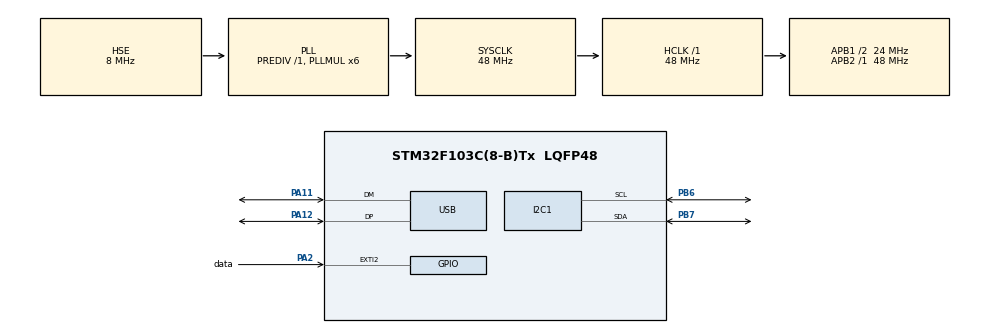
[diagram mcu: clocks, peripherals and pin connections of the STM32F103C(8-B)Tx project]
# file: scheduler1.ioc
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FREERTOS.Tasks01=mpu,24,256,TaskMpu,Default,NULL,Dynamic,NULL,NULL;dht,8,256,TaskDht,Default,NULL,Dynamic,NULL,NULL
FREERTOS.configUSE_NEWLIB_REENTRANT=1
Mcu.Family=STM32F1
Mcu.Name=STM32F103C(8-B)Tx
Mcu.Package=LQFP48
NVIC.PriorityGroup=NVIC_PRIORITYGROUP_4
NVIC.TIM1_UP_IRQn=true\:15\:0\:false\:false\:true\:false\:false\:true\:true
NVIC.TimeBase=TIM1_UP_IRQn
NVIC.TimeBaseIP=TIM1
NVIC.USB_LP_CAN1_RX0_IRQn=true\:5\:0\:false\:false\:true\:true\:false\:true\:true
PA11.Mode=Device
PA11.Signal=USB_DM
PA12.Mode=Device
PA12.Signal=USB_DP
PA13.Mode=Serial_Wire
PA13.Signal=SYS_JTMS-SWDIO
PA14.Mode=Serial_Wire
PA14.Signal=SYS_JTCK-SWCLK
PA2.GPIO_Label=data
PA2.GPIO_PuPd=GPIO_PULLUP
PA2.Signal=GPXTI2
PB6.Mode=I2C
PB6.Signal=I2C1_SCL
PB7.Mode=I2C
PB7.Signal=I2C1_SDA
PD0-OSC_IN.Mode=HSE-External-Oscillator
PD0-OSC_IN.Signal=RCC_OSC_IN
PD1-OSC_OUT.Mode=HSE-External-Oscillator
PD1-OSC_OUT.Signal=RCC_OSC_OUT
ProjectManager.HeapSize=0x200
ProjectManager.StackSize=0x400
ProjectManager.TargetToolchain=STM32CubeIDE
RCC.AHBFreq_Value=48000000
RCC.APB1CLKDivider=RCC_HCLK_DIV2
RCC.APB1Freq_Value=24000000
RCC.APB1TimFreq_Value=48000000
RCC.APB2Freq_Value=48000000
RCC.APB2TimFreq_Value=48000000
RCC.HCLKFreq_Value=48000000
RCC.PLLMUL=RCC_PLL_MUL6
RCC.SYSCLKFreq_VALUE=48000000
RCC.SYSCLKSource=RCC_SYSCLKSOURCE_PLLCLK
RCC.USBFreq_Value=48000000
USB_DEVICE.CLASS_NAME_FS=CDC
USB_DEVICE.VirtualMode=Cdc
USB_DEVICE.VirtualModeFS=Cdc_FS
VP_FREERTOS_VS_CMSIS_V2.Mode=CMSIS_V2
VP_SYS_VS_tim1.Mode=TIM1
VP_USB_DEVICE_VS_USB_DEVICE_CDC_FS.Mode=CDC_FS
board=custom

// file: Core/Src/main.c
/* USER CODE BEGIN Header */
/**
  ******************************************************************************
  * @file           : main.c
  * @brief          : Main program body
  ******************************************************************************
  * @attention
  *
  * Copyright (c) 2025 STMicroelectronics.
  * All rights reserved.
  *
  * This software is licensed under terms that can be found in the LICENSE file
  * in the root directory of this software component.
  * If no LICENSE file comes with this software, it is provided AS-IS.
  *
  ******************************************************************************
  */
/* USER CODE END Header */
#include "main.h"
#include "cmsis_os.h"
#include "usb_device.h"

/* USER CODE BEGIN Includes */
#include <math.h>

#include <SON_CDC_Logger.h>

#include <SON_I2C_MPU6050.h>
#include <dht22.h>

#include "core_cm3.h"
/* USER CODE END Includes */

I2C_HandleTypeDef hi2c1;

/* Definitions for mpu */
osThreadId_t mpuHandle;
const osThreadAttr_t mpu_attributes = {
  .name = "mpu",
  .stack_size = 256 * 4,
  .priority = (osPriority_t) osPriorityNormal,
};
/* Definitions for dht */
osThreadId_t dhtHandle;
const osThreadAttr_t dht_attributes = {
  .name = "dht",
  .stack_size = 256 * 4,
  .priority = (osPriority_t) osPriorityLow,
};
/* USER CODE BEGIN PV */

/*
 * Bội số cho chu kì của task 1
 *
 * Chu kì task 1 = period_task_1 * 5000ms
 *
 * Giá trị từ 1 -> 5
 * */
 uint8_t period_task_1 = 1;

 /*
  * Bội số cho chu kì của task 2
  *
  * Chu kì task 2 = period_task_2 * 1000ms
  *
  * Giá trị từ 1 -> 5
  * */
uint8_t period_task_2 = 1;

/* USER CODE END PV */

void SystemClock_Config(void);
static void MX_GPIO_Init(void);
static void MX_I2C1_Init(void);
void TaskMpu(void *argument);
void TaskDht(void *argument);

/* USER CODE BEGIN 0 */

// Function to get current cycle count
static inline uint32_t DWT_GetCycleCount(void) {
    return DWT->CYCCNT;
}

// Function to enable DWT counter
void DWT_Init(void) {
    CoreDebug->DEMCR |= CoreDebug_DEMCR_TRCENA_Msk;  // Enable trace
    DWT->CTRL |= DWT_CTRL_CYCCNTENA_Msk;            // Enable cycle counter
}

/* USER CODE END 0 */

int main(void)
{

  /* MCU Configuration--------------------------------------------------------*/

  /* Reset of all peripherals, Initializes the Flash interface and the Systick. */
  HAL_Init();

  /* Configure the system clock */
  SystemClock_Config();

  /* Initialize all configured peripherals */
  MX_GPIO_Init();
  MX_I2C1_Init();
  /* USER CODE BEGIN 2 */

  MX_USB_DEVICE_Init();

//  MPU6050_Init();
  dht22_init();
//  DWT_Init();

 MPU6050_Init();

  /* USER CODE END 2 */

  /* Init scheduler */
  osKernelInitialize();

  /* Create the thread(s) */
  /* creation of mpu */
  mpuHandle = osThreadNew(TaskMpu, NULL, &mpu_attributes);

  /* creation of dht */
  dhtHandle = osThreadNew(TaskDht, NULL, &dht_attributes);

  /* Start scheduler */
  osKernelStart();

  /* We should never get here as control is now taken by the scheduler */

  /* Infinite loop */
  while (1)
  {

  }
}

void SystemClock_Config(void)
{
  RCC_OscInitTypeDef RCC_OscInitStruct = {0};
  RCC_ClkInitTypeDef RCC_ClkInitStruct = {0};
  RCC_PeriphCLKInitTypeDef PeriphClkInit = {0};

  /** Initializes the RCC Oscillators according to the specified parameters
  * in the RCC_OscInitTypeDef structure.
  */
  RCC_OscInitStruct.OscillatorType = RCC_OSCILLATORTYPE_HSE;
  RCC_OscInitStruct.HSEState = RCC_HSE_ON;
  RCC_OscInitStruct.HSEPredivValue = RCC_HSE_PREDIV_DIV1;
  RCC_OscInitStruct.HSIState = RCC_HSI_ON;
  RCC_OscInitStruct.PLL.PLLState = RCC_PLL_ON;
  RCC_OscInitStruct.PLL.PLLSource = RCC_PLLSOURCE_HSE;
  RCC_OscInitStruct.PLL.PLLMUL = RCC_PLL_MUL6;
  if (HAL_RCC_OscConfig(&RCC_OscInitStruct) != HAL_OK)
  {
    Error_Handler();
  }

  /** Initializes the CPU, AHB and APB buses clocks
  */
  RCC_ClkInitStruct.ClockType = RCC_CLOCKTYPE_HCLK|RCC_CLOCKTYPE_SYSCLK
                              |RCC_CLOCKTYPE_PCLK1|RCC_CLOCKTYPE_PCLK2;
  RCC_ClkInitStruct.SYSCLKSource = RCC_SYSCLKSOURCE_PLLCLK;
  RCC_ClkInitStruct.AHBCLKDivider = RCC_SYSCLK_DIV1;
  RCC_ClkInitStruct.APB1CLKDivider = RCC_HCLK_DIV2;
  RCC_ClkInitStruct.APB2CLKDivider = RCC_HCLK_DIV1;

  if (HAL_RCC_ClockConfig(&RCC_ClkInitStruct, FLASH_LATENCY_1) != HAL_OK)
  {
    Error_Handler();
  }
  PeriphClkInit.PeriphClockSelection = RCC_PERIPHCLK_USB;
  PeriphClkInit.UsbClockSelection = RCC_USBCLKSOURCE_PLL;
  if (HAL_RCCEx_PeriphCLKConfig(&PeriphClkInit) != HAL_OK)
  {
    Error_Handler();
  }
}

static void MX_I2C1_Init(void)
{

  hi2c1.Instance = I2C1;
  hi2c1.Init.ClockSpeed = 100000;
  hi2c1.Init.DutyCycle = I2C_DUTYCYCLE_2;
  hi2c1.Init.OwnAddress1 = 0;
  hi2c1.Init.AddressingMode = I2C_ADDRESSINGMODE_7BIT;
  hi2c1.Init.DualAddressMode = I2C_DUALADDRESS_DISABLE;
  hi2c1.Init.OwnAddress2 = 0;
  hi2c1.Init.GeneralCallMode = I2C_GENERALCALL_DISABLE;
  hi2c1.Init.NoStretchMode = I2C_NOSTRETCH_DISABLE;
  if (HAL_I2C_Init(&hi2c1) != HAL_OK)
  {
    Error_Handler();
  }

}

static void MX_GPIO_Init(void)
{
  GPIO_InitTypeDef GPIO_InitStruct = {0};

  /* GPIO Ports Clock Enable */
  __HAL_RCC_GPIOD_CLK_ENABLE();
  __HAL_RCC_GPIOA_CLK_ENABLE();
  __HAL_RCC_GPIOB_CLK_ENABLE();

  /*Configure GPIO pin : data_Pin */
  GPIO_InitStruct.Pin = data_Pin;
  GPIO_InitStruct.Mode = GPIO_MODE_IT_RISING;
  GPIO_InitStruct.Pull = GPIO_PULLUP;
  HAL_GPIO_Init(data_GPIO_Port, &GPIO_InitStruct);

}

void TaskMpu(void *argument)
{
  /* init code for USB_DEVICE */
  MX_USB_DEVICE_Init();
  /* USER CODE BEGIN 5 */

  /* Infinite loop */
  for(;;)
  {

//	 start = DWT_GetCycleCount();
	  //
//	  	  MPU6050_Read_Accel();
	    MPU6050_Read_Accel();
	  //	  intPart = (int)floorf(Ax * 100);
	  	  printf("ax=%c%d.%d\n", (Ax < 0) ? '-': '+',(int) Ax, abs( ((int)(Ax * 10000)) % 10000)  );
	  	  printf("Period task 2: %d ms\n", period_task_2 * 1000);

	    // print exe time of mpu task
//	  	  printf("%d\n",(int)(DWT_GetCycleCount() - start));

    osDelay(period_task_2 * 1000);
  }
  /* USER CODE END 5 */
}

void TaskDht(void *argument)
{
  /* USER CODE BEGIN TaskDht */
	float temp = 0, humid = 0;
//	 TickType_t  start = 0;
	 uint32_t start = 0;

  /* Infinite loop */
  for(;;)
  {
//	    start = xTaskGetTickCount();
//	  printf("Hello from rtos \n");
//	  start = DWT_GetCycleCount();
	 	  	  DHT22_GetTemp_Humidity(&temp, &humid);

//	 	  	  int intPart = (int)floorf(temp);
	 	  //
	 	  	  printf("t=%d\n",(int) temp);
	 	  	  printf("Period task 1: %d ms\n", period_task_1 * 5000);
//	 	 	  printf("%d\n",(int)(DWT_GetCycleCount() - start));

    osDelay(period_task_1 * 5000);
  }
  /* USER CODE END TaskDht */
}

void HAL_TIM_PeriodElapsedCallback(TIM_HandleTypeDef *htim)
{
  if (htim->Instance == TIM1) {
    HAL_IncTick();
  }
}

void Error_Handler(void)
{
  __disable_irq();
  while (1)
  {
  }
}
